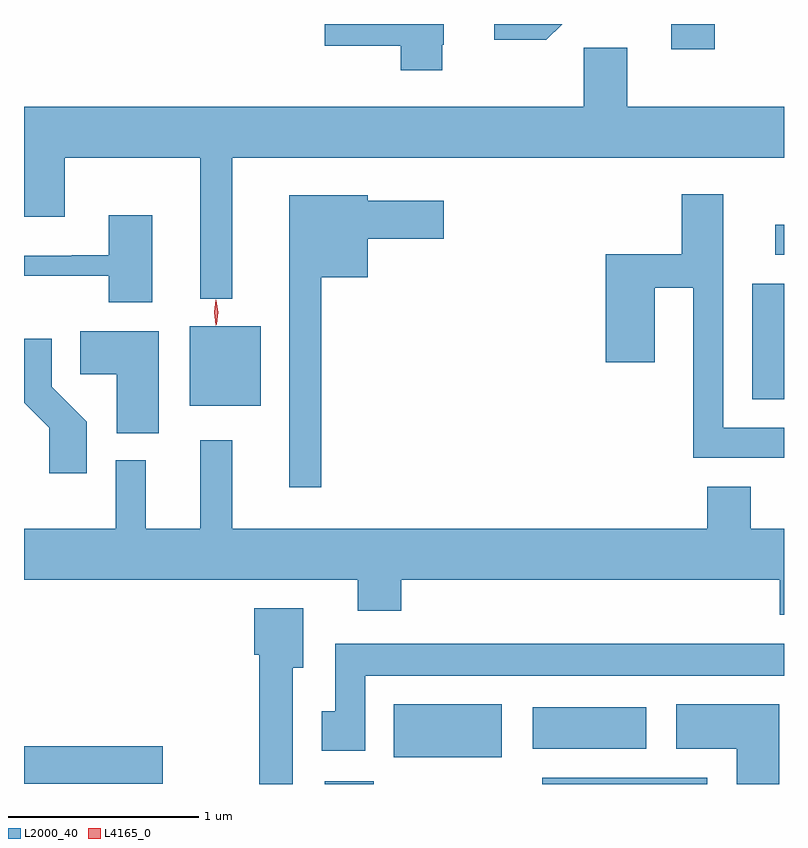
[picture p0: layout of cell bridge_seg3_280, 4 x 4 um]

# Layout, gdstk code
import gdstk
lib = gdstk.Library(unit=1e-6, precision=1e-09)
def R(c, l, rs):  # rectangles x0, y0, x1, y1
    for r in rs: c.add(gdstk.rectangle(r[:2], r[2:], *l))
def P(c, l, *ps):  # polygons
    for p in ps: c.add(gdstk.Polygon(p, *l))
L2000_40 = (2000, 40)
L4165_0 = (4165, 0)

bridge_seg3_280 = lib.new_cell('bridge_seg3_280')
R(bridge_seg3_280, L2000_40, [(1104.006,1142.7,1104.264,1142.714), (1105.151,1142.7,1106.019,1142.734), (1102.424,1142.701,1103.154,1142.899), (1104.371,1142.841,1104.939,1143.119), (1105.101,1142.886,1105.699,1143.104), (1103.296,1144.691,1103.669,1145.109), (1106.256,1144.726,1106.424,1145.334), (1106.378,1145.486,1106.424,1145.644), (1105.831,1146.566,1106.059,1146.7)])
P(bridge_seg3_280, L2000_40, [(1105.256,1146.7),(1104.898,1146.7),(1104.898,1146.616),(1105.172,1146.616)],
  [(1104.624,1146.59),(1104.634,1146.59),(1104.634,1146.7),(1104.006,1146.7),(1104.006,1146.586),(1104.406,1146.586),(1104.406,1146.456),(1104.624,1146.456)],
  [(1103.519,1145.996),(1106.424,1145.996),(1106.424,1146.264),(1105.599,1146.264),(1105.599,1146.574),(1105.371,1146.574),(1105.371,1146.264),(1102.424,1146.264),(1102.424,1145.686),(1102.639,1145.686),(1102.639,1145.996),(1103.351,1145.996),(1103.351,1145.253),(1103.519,1145.253)],
  [(1106.424,1144.574),(1106.104,1144.574),(1106.104,1145.804),(1105.886,1145.804),(1105.886,1145.489),(1105.486,1145.489),(1105.486,1144.921),(1105.744,1144.921),(1105.744,1145.311),(1105.946,1145.311),(1105.946,1144.416),(1106.424,1144.416)],
  [(1103.989,1145.366),(1104.234,1145.366),(1104.234,1145.571),(1104.634,1145.571),(1104.634,1145.769),(1104.234,1145.769),(1104.234,1145.799),(1103.821,1145.799),(1103.821,1144.263),(1103.989,1144.263)],
  [(1103.099,1145.694),(1102.871,1145.694),(1102.871,1145.484),(1102.675,1145.484),(1102.675,1145.481),(1102.424,1145.481),(1102.424,1145.374),(1102.45,1145.374),(1102.45,1145.376),(1102.871,1145.376),(1102.871,1145.236),(1103.099,1145.236)],
  [(1103.134,1145.084),(1102.721,1145.084),(1102.721,1144.856),(1102.911,1144.856),(1102.911,1144.546),(1103.134,1144.546)],
  [(1102.754,1144.607),(1102.569,1144.792),(1102.569,1145.044),(1102.424,1145.044),(1102.424,1144.706),(1102.556,1144.574),(1102.556,1144.336),(1102.754,1144.336)],
  [(1106.424,1144.044),(1106.249,1144.044),(1106.249,1144.264),(1106.021,1144.264),(1106.021,1144.044),(1103.519,1144.044),(1103.519,1144.508),(1103.351,1144.508),(1103.351,1144.044),(1103.064,1144.044),(1103.064,1144.403),(1102.906,1144.403),(1102.906,1144.044),(1102.424,1144.044),(1102.424,1143.776),(1104.181,1143.776),(1104.181,1143.611),(1104.409,1143.611),(1104.409,1143.776),(1106.401,1143.776),(1106.401,1143.591),(1106.424,1143.591)],
  [(1103.839,1143.311),(1103.894,1143.311),(1103.894,1143.624),(1103.636,1143.624),(1103.636,1143.381),(1103.661,1143.381),(1103.661,1142.7),(1103.839,1142.7)],
  [(1104.219,1143.271),(1106.424,1143.271),(1106.424,1143.439),(1104.061,1143.439),(1104.061,1143.084),(1103.991,1143.084),(1103.991,1142.876),(1104.219,1142.876)],
  [(1106.399,1143.119),(1105.856,1143.119),(1105.856,1142.886),(1106.176,1142.886),(1106.176,1142.7),(1106.399,1142.7)])
P(bridge_seg3_280, L4165_0, [(1103.433,1145.114),(1103.424,1145.182),(1103.433,1145.25),(1103.434,1145.25),(1103.434,1145.25),(1103.444,1145.182),(1103.434,1145.114),(1103.434,1145.114)],
  [(1103.438,1145.118),(1103.437,1145.119),(1103.428,1145.183),(1103.436,1145.247),(1103.437,1145.247),(1103.437,1145.247),(1103.447,1145.183),(1103.438,1145.119)])

lib.write_gds('bridge_seg3_280.gds')
